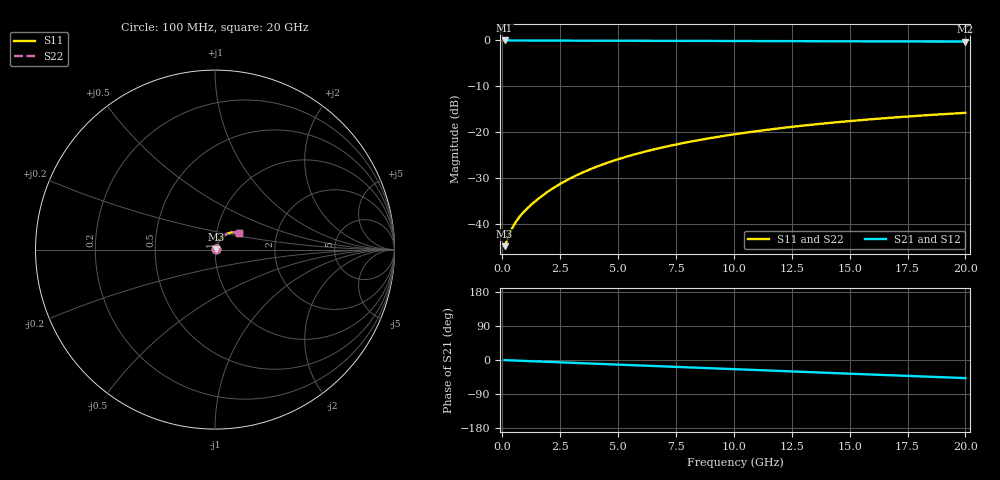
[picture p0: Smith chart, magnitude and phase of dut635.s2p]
! Touchstone file exported from HFSS 2026.1.0
!  File:  C:/ffzhzh/LocalFiles/Ansys_Project_Files/temp_train_BSMRDL_635_1783016668_4048.aedt
!  Generated:  02:25:43 AM Jul  3, 2026
!  Design:  BSMRDL
!  Project:  temp_train_BSMRDL_635_1783016668_4048
! Variables:
!  h_bsmrdl = 2.63um
!  h_ox = 20um
!  h_rdl = 5um
!  h_sub = 80um
!  h_tmrdl = 5um
!  h_tsv = 80um
!  h_via = 3um
!  l_bsmrdl = 832.75um
!  l_sub = 1232.75um
!  l_tmrdl = 200um
!  m_sub = 200um
!  pitch = 27.63um
!  r_tsv = 6um
!  s_tmrdl = 10um
!  w_bsmrdl = 20.99um
!  w_sub = 500um
!  w_tmrdl = 12um
!  x_tsv_center1 = 206um
!  x_tsv_center2 = 1059.74um
!  x_tsv_center3 = 1271.74um
!  x_tsv_center4 = 2125.48um
!  x_tsv_center5 = 2337.48um
!  x_tsv_center6 = 3191.22um
# GHz S MA R 50.000000
! Terminal data exported
! Port[1] = BSM_RDL1_1_T1
! Port[2] = BSM_RDL1_1_T2
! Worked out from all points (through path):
!   200 points, 100 MHz to 20 GHz, reference 50 ohm
!   highest |S21| = -0.05 dB at 100 MHz (marker M1); lowest = -0.3 dB at 20 GHz (marker M2)
!   group delay of S21, straight-line fit = 6.62 ps
!   lowest |S11| = -44.7 dB at 100 MHz (marker M3), VSWR 1.01, Z = 50.6 + j0.163 ohm
!   |S11| at or under -10 dB: start of sweep to end of sweep
!   |S22| runs from -44.7 to -15.8 dB; largest |S21 - S12| = 2.7e-15
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0.1  0.005813 16.1  0.9944 -0.3  0.9944 -0.3  0.005813 16.1
! Gamma 0 0 0 0
! Port Impedance 50 0 50 0
0.3  0.007736 35.1  0.9937 -0.8  0.9937 -0.8  0.007736 35.1
0.4  0.008819 39.7  0.9933 -1.1  0.9933 -1.1  0.008818 39.7
0.5  0.009845 42.8  0.9929 -1.3  0.9929 -1.3  0.009845 42.8
0.6  0.01081 45.2  0.9926 -1.6  0.9926 -1.6  0.01081 45.2
0.8  0.01259 49.0  0.992 -2.1  0.992 -2.1  0.01259 49.0
1.1  0.01513 53.5  0.9915 -2.8  0.9915 -2.8  0.01513 53.5
1.6  0.01942 58.9  0.991 -4.0  0.991 -4.0  0.01942 58.9
2.2  0.0248 62.8  0.9905 -5.5  0.9905 -5.5  0.02481 62.8
2.8  0.03036 64.8  0.9901 -6.9  0.9901 -6.9  0.03036 64.8
3.5  0.03694 65.9  0.9895 -8.6  0.9895 -8.6  0.03695 65.9
4.2  0.04355 66.0  0.9888 -10.3  0.9888 -10.3  0.04355 66.0
5  0.05106 65.5  0.9879 -12.3  0.9879 -12.3  0.05107 65.6
5.9  0.0594 64.5  0.9868 -14.5  0.9868 -14.5  0.05941 64.5
6.8  0.06759 63.1  0.9856 -16.6  0.9856 -16.6  0.0676 63.1
8.3  0.08082 60.4  0.9835 -20.2  0.9835 -20.2  0.08084 60.4
10.1  0.09593 56.7  0.9807 -24.6  0.9807 -24.6  0.09596 56.8
11.7  0.1086 53.3  0.9781 -28.4  0.9781 -28.4  0.1087 53.4
13.4  0.1213 49.7  0.9753 -32.4  0.9753 -32.4  0.1214 49.7
15  0.1325 46.2  0.9728 -36.1  0.9728 -36.1  0.1326 46.2
16.7  0.1437 42.5  0.9701 -40.1  0.9701 -40.1  0.1437 42.5
20  0.1628 35.3  0.9654 -47.8  0.9654 -47.8  0.1629 35.4
